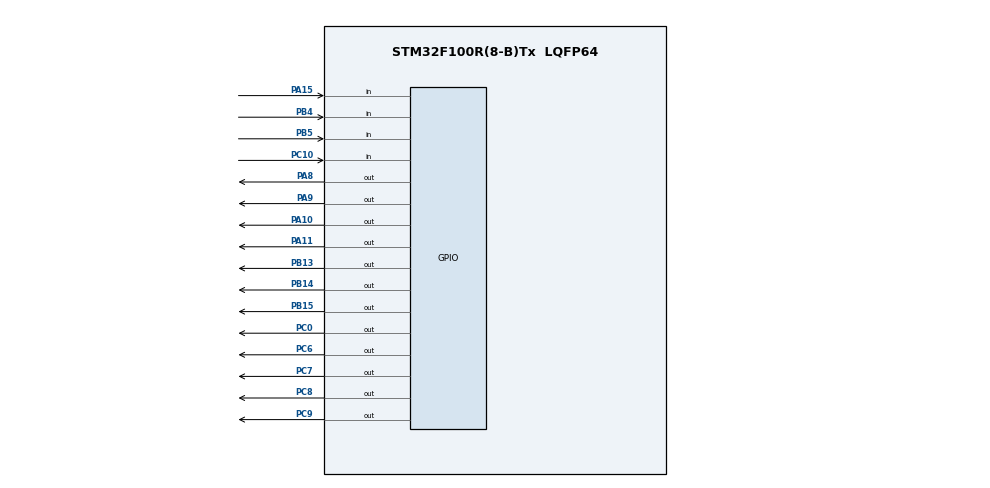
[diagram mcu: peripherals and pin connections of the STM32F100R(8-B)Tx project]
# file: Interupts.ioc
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Mcu.Family=STM32F1
Mcu.Name=STM32F100R(8-B)Tx
Mcu.Package=LQFP64
NVIC.PriorityGroup=NVIC_PRIORITYGROUP_4
NVIC.TIM2_IRQn=true\:0\:0\:false\:false\:true\:true
NVIC.TIM3_IRQn=true\:0\:0\:false\:false\:true\:true
PA10.Signal=GPIO_Output
PA11.Signal=GPIO_Output
PA15.Signal=GPIO_Input
PA8.Signal=GPIO_Output
PA9.Signal=GPIO_Output
PB13.Signal=GPIO_Output
PB14.Signal=GPIO_Output
PB15.Signal=GPIO_Output
PB4.Signal=GPIO_Input
PB5.Signal=GPIO_Input
PC0.Signal=GPIO_Output
PC10.Signal=GPIO_Input
PC6.Signal=GPIO_Output
PC7.Signal=GPIO_Output
PC8.Signal=GPIO_Output
PC9.Signal=GPIO_Output
ProjectManager.HeapSize=0x200
ProjectManager.StackSize=0x400
ProjectManager.TargetToolchain=Makefile
RCC.APB1Freq_Value=8000000
RCC.APB2Freq_Value=8000000
TIM2.Period=500
TIM2.Prescaler=8
TIM3.Period=1
TIM3.Prescaler=1
VP_SYS_VS_ND.Mode=No_Debug
VP_TIM2_VS_ClockSourceINT.Mode=Internal
VP_TIM3_VS_ClockSourceINT.Mode=Internal
board=Interupts

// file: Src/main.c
/**
  ******************************************************************************
  * File Name          : main.c
  * Description        : Main program body
  ******************************************************************************
  ** This notice applies to any and all portions of this file
  * that are not between comment pairs USER CODE BEGIN and
  * USER CODE END. Other portions of this file, whether
  * inserted by the user or by software development tools
  * are owned by their respective copyright owners.
  *
  * COPYRIGHT(c) 2018 STMicroelectronics
  *
  * Redistribution and use in source and binary forms, with or without modification,
  * are permitted provided that the following conditions are met:
  *   1. Redistributions of source code must retain the above copyright notice,
  *      this list of conditions and the following disclaimer.
  *   2. Redistributions in binary form must reproduce the above copyright notice,
  *      this list of conditions and the following disclaimer in the documentation
  *      and/or other materials provided with the distribution.
  *   3. Neither the name of STMicroelectronics nor the names of its contributors
  *      may be used to endorse or promote products derived from this software
  *      without specific prior written permission.
  *
  * THIS SOFTWARE IS PROVIDED BY THE COPYRIGHT HOLDERS AND CONTRIBUTORS "AS IS"
  * AND ANY EXPRESS OR IMPLIED WARRANTIES, INCLUDING, BUT NOT LIMITED TO, THE
  * IMPLIED WARRANTIES OF MERCHANTABILITY AND FITNESS FOR A PARTICULAR PURPOSE ARE
  * DISCLAIMED. IN NO EVENT SHALL THE COPYRIGHT HOLDER OR CONTRIBUTORS BE LIABLE
  * FOR ANY DIRECT, INDIRECT, INCIDENTAL, SPECIAL, EXEMPLARY, OR CONSEQUENTIAL
  * DAMAGES (INCLUDING, BUT NOT LIMITED TO, PROCUREMENT OF SUBSTITUTE GOODS OR
  * SERVICES; LOSS OF USE, DATA, OR PROFITS; OR BUSINESS INTERRUPTION) HOWEVER
  * CAUSED AND ON ANY THEORY OF LIABILITY, WHETHER IN CONTRACT, STRICT LIABILITY,
  * OR TORT (INCLUDING NEGLIGENCE OR OTHERWISE) ARISING IN ANY WAY OUT OF THE USE
  * OF THIS SOFTWARE, EVEN IF ADVISED OF THE POSSIBILITY OF SUCH DAMAGE.
  *
  ******************************************************************************
  */

#include "main.h"
#include "stm32f1xx_hal.h"

/* USER CODE BEGIN Includes */
#include <stdio.h>
#include <stdbool.h>
#include "LCD.h"
#include "MenuLibrary.h"
//#include "MenuLibrary.h"

/* USER CODE END Includes */

TIM_HandleTypeDef htim2;
TIM_HandleTypeDef htim3;

/* USER CODE BEGIN PV */
/* Private variables ---------------------------------------------------------*/

/* USER CODE END PV */

void SystemClock_Config(void);
static void MX_GPIO_Init(void);
static void MX_TIM2_Init(void);
static void MX_TIM3_Init(void);

/* USER CODE BEGIN PFP */
/* Private function prototypes -----------------------------------------------*/

/* USER CODE END PFP */

/* USER CODE BEGIN 0 */

volatile unsigned int Lines = 3;
volatile unsigned int MenuLayers = MENU_LAYERS;
volatile unsigned int CurrentLayer = 0;
volatile int CurrentMenuPosition[MENU_LAYERS];

volatile int portAPin15Counter=0;
volatile _Bool SetLCD = false;
volatile unsigned int PeriodsToGo = 1000;
volatile _Bool UpdateLCD = true;
volatile unsigned int PhaseLCD = 1;
volatile const int TotalPhasesLCDSetup = 13;
volatile const int TotalPhasesLCDUpdate = 8;
volatile char Text[4][16];

volatile unsigned int colomn = 1;
volatile unsigned int row = 1;

volatile const int CheckCircles = 250;
volatile const int jOnThreshold = 150;
volatile int jTimer = 0;
volatile int jOnUP=0; // PA15
volatile int jOnDOWN=0; // PC10
volatile int jOnOK=0; // PB4
volatile int jOnBACK=0; // PB5

//HAL_TIM_Base_Init(&htim2);
//HAL_TIM_Base_Start(&htim2);

/* USER CODE END 0 */

int main(void)
{

  /* USER CODE BEGIN 1 */
  /* CurrentMenuPosition initialization */
  volatile int i=0;
  for (i=0; i<MenuLayers; i++)
  {
    CurrentMenuPosition[i]=0;
  };
  CurrentMenuPosition[CurrentLayer]=1;
  /* Text initialization */
  volatile int bufPosition = CurrentMenuPosition[CurrentLayer];
  sprintf(Text[0],MenuTitle(CurrentMenuPosition));
  CurrentMenuPosition[CurrentLayer]=bufPosition;
  for (i=1; i<Lines+1; i++)
  {
    sprintf(Text[i],MenuOption(CurrentMenuPosition));
    CurrentMenuPosition[CurrentLayer]+=1;
  };
  CurrentMenuPosition[CurrentLayer]=bufPosition;
  Text[1][0] = '>';
  /*for (i=0; i<Lines+1; i++)
  {
    sprintf(Text[i],MenuOption(CurrentMenuPosition));
    CurrentMenuPosition[CurrentLayer]+=1;
  };
  CurrentMenuPosition[CurrentLayer]-=Lines;*/

  /* USER CODE END 1 */

  /* MCU Configuration----------------------------------------------------------*/

  /* Reset of all peripherals, Initializes the Flash interface and the Systick. */
  HAL_Init();

  /* Configure the system clock */
  SystemClock_Config();

  /* Initialize all configured peripherals */
  MX_GPIO_Init();
  MX_TIM2_Init();
  MX_TIM3_Init();

  /* USER CODE BEGIN 2 */
  /*Setup the Pins*/
  SetPins();
  /*Debuging LED*/
  HAL_GPIO_WritePin(GPIOC, GPIO_PIN_0, GPIO_PIN_RESET);
  /*Initialize the timer 2*/
  HAL_TIM_Base_Start_IT(&htim2);
  HAL_NVIC_EnableIRQ(TIM2_IRQn);
  /*Initialize the timer 3*/
  HAL_TIM_Base_Start_IT(&htim3);
  HAL_NVIC_EnableIRQ(TIM3_IRQn);

  /* USER CODE END 2 */

  /* Infinite loop */
  while (1)
  {

  /* USER CODE BEGIN 3 */
  //__HAL_TIM_ENABLE(&htim2);
  //__HAL_TIM_ENABLE(&htim3);
  /*Set the cursor position*/
  /*Write a string*/
  }
  /* USER CODE END 3 */

}

/** System Clock Configuration
*/
void SystemClock_Config(void)
{

  RCC_OscInitTypeDef RCC_OscInitStruct;
  RCC_ClkInitTypeDef RCC_ClkInitStruct;

    /**Initializes the CPU, AHB and APB busses clocks
    */
  RCC_OscInitStruct.OscillatorType = RCC_OSCILLATORTYPE_HSI;
  RCC_OscInitStruct.HSIState = RCC_HSI_ON;
  RCC_OscInitStruct.HSICalibrationValue = 16;
  RCC_OscInitStruct.PLL.PLLState = RCC_PLL_NONE;
  if (HAL_RCC_OscConfig(&RCC_OscInitStruct) != HAL_OK)
  {
    _Error_Handler(__FILE__, __LINE__);
  }

    /**Initializes the CPU, AHB and APB busses clocks
    */
  RCC_ClkInitStruct.ClockType = RCC_CLOCKTYPE_HCLK|RCC_CLOCKTYPE_SYSCLK
                              |RCC_CLOCKTYPE_PCLK1|RCC_CLOCKTYPE_PCLK2;
  RCC_ClkInitStruct.SYSCLKSource = RCC_SYSCLKSOURCE_HSI;
  RCC_ClkInitStruct.AHBCLKDivider = RCC_SYSCLK_DIV1;
  RCC_ClkInitStruct.APB1CLKDivider = RCC_HCLK_DIV1;
  RCC_ClkInitStruct.APB2CLKDivider = RCC_HCLK_DIV1;

  if (HAL_RCC_ClockConfig(&RCC_ClkInitStruct, FLASH_LATENCY_0) != HAL_OK)
  {
    _Error_Handler(__FILE__, __LINE__);
  }

    /**Configure the Systick interrupt time
    */
  HAL_SYSTICK_Config(HAL_RCC_GetHCLKFreq()/1000);

    /**Configure the Systick
    */
  HAL_SYSTICK_CLKSourceConfig(SYSTICK_CLKSOURCE_HCLK);

  /* SysTick_IRQn interrupt configuration */
  HAL_NVIC_SetPriority(SysTick_IRQn, 0, 0);
}

/* TIM2 init function */
static void MX_TIM2_Init(void)
{

  TIM_ClockConfigTypeDef sClockSourceConfig;
  TIM_MasterConfigTypeDef sMasterConfig;

  htim2.Instance = TIM2;
  htim2.Init.Prescaler = 8;
  htim2.Init.CounterMode = TIM_COUNTERMODE_UP;
  htim2.Init.Period = 500;
  htim2.Init.ClockDivision = TIM_CLOCKDIVISION_DIV1;
  htim2.Init.AutoReloadPreload = TIM_AUTORELOAD_PRELOAD_DISABLE;
  if (HAL_TIM_Base_Init(&htim2) != HAL_OK)
  {
    _Error_Handler(__FILE__, __LINE__);
  }

  sClockSourceConfig.ClockSource = TIM_CLOCKSOURCE_INTERNAL;
  if (HAL_TIM_ConfigClockSource(&htim2, &sClockSourceConfig) != HAL_OK)
  {
    _Error_Handler(__FILE__, __LINE__);
  }

  sMasterConfig.MasterOutputTrigger = TIM_TRGO_RESET;
  sMasterConfig.MasterSlaveMode = TIM_MASTERSLAVEMODE_DISABLE;
  if (HAL_TIMEx_MasterConfigSynchronization(&htim2, &sMasterConfig) != HAL_OK)
  {
    _Error_Handler(__FILE__, __LINE__);
  }

}

/* TIM3 init function */
static void MX_TIM3_Init(void)
{

  TIM_ClockConfigTypeDef sClockSourceConfig;
  TIM_MasterConfigTypeDef sMasterConfig;

  htim3.Instance = TIM3;
  htim3.Init.Prescaler = 1;
  htim3.Init.CounterMode = TIM_COUNTERMODE_UP;
  htim3.Init.Period = 1;
  htim3.Init.ClockDivision = TIM_CLOCKDIVISION_DIV1;
  htim3.Init.AutoReloadPreload = TIM_AUTORELOAD_PRELOAD_DISABLE;
  if (HAL_TIM_Base_Init(&htim3) != HAL_OK)
  {
    _Error_Handler(__FILE__, __LINE__);
  }

  sClockSourceConfig.ClockSource = TIM_CLOCKSOURCE_INTERNAL;
  if (HAL_TIM_ConfigClockSource(&htim3, &sClockSourceConfig) != HAL_OK)
  {
    _Error_Handler(__FILE__, __LINE__);
  }

  sMasterConfig.MasterOutputTrigger = TIM_TRGO_RESET;
  sMasterConfig.MasterSlaveMode = TIM_MASTERSLAVEMODE_DISABLE;
  if (HAL_TIMEx_MasterConfigSynchronization(&htim3, &sMasterConfig) != HAL_OK)
  {
    _Error_Handler(__FILE__, __LINE__);
  }

}

/** Configure pins as
        * Analog
        * Input
        * Output
        * EVENT_OUT
        * EXTI
*/
static void MX_GPIO_Init(void)
{

  GPIO_InitTypeDef GPIO_InitStruct;

  /* GPIO Ports Clock Enable */
  __HAL_RCC_GPIOC_CLK_ENABLE();
  __HAL_RCC_GPIOB_CLK_ENABLE();
  __HAL_RCC_GPIOA_CLK_ENABLE();

  /*Configure GPIO pin Output Level */
  HAL_GPIO_WritePin(GPIOC, GPIO_PIN_0|GPIO_PIN_6|GPIO_PIN_7|GPIO_PIN_8
                          |GPIO_PIN_9, GPIO_PIN_RESET);

  /*Configure GPIO pin Output Level */
  HAL_GPIO_WritePin(GPIOB, GPIO_PIN_13|GPIO_PIN_14|GPIO_PIN_15, GPIO_PIN_RESET);

  /*Configure GPIO pin Output Level */
  HAL_GPIO_WritePin(GPIOA, GPIO_PIN_8|GPIO_PIN_9|GPIO_PIN_10|GPIO_PIN_11, GPIO_PIN_RESET);

  /*Configure GPIO pins : PC0 PC6 PC7 PC8
                           PC9 */
  GPIO_InitStruct.Pin = GPIO_PIN_0|GPIO_PIN_6|GPIO_PIN_7|GPIO_PIN_8
                          |GPIO_PIN_9;
  GPIO_InitStruct.Mode = GPIO_MODE_OUTPUT_PP;
  GPIO_InitStruct.Speed = GPIO_SPEED_FREQ_LOW;
  HAL_GPIO_Init(GPIOC, &GPIO_InitStruct);

  /*Configure GPIO pins : PB13 PB14 PB15 */
  GPIO_InitStruct.Pin = GPIO_PIN_13|GPIO_PIN_14|GPIO_PIN_15;
  GPIO_InitStruct.Mode = GPIO_MODE_OUTPUT_PP;
  GPIO_InitStruct.Speed = GPIO_SPEED_FREQ_LOW;
  HAL_GPIO_Init(GPIOB, &GPIO_InitStruct);

  /*Configure GPIO pins : PA8 PA9 PA10 PA11 */
  GPIO_InitStruct.Pin = GPIO_PIN_8|GPIO_PIN_9|GPIO_PIN_10|GPIO_PIN_11;
  GPIO_InitStruct.Mode = GPIO_MODE_OUTPUT_PP;
  GPIO_InitStruct.Speed = GPIO_SPEED_FREQ_LOW;
  HAL_GPIO_Init(GPIOA, &GPIO_InitStruct);

  /*Configure GPIO pin : PA15 */
  GPIO_InitStruct.Pin = GPIO_PIN_15;
  GPIO_InitStruct.Mode = GPIO_MODE_INPUT;
  GPIO_InitStruct.Pull = GPIO_NOPULL;
  HAL_GPIO_Init(GPIOA, &GPIO_InitStruct);

  /*Configure GPIO pin : PC10 */
  GPIO_InitStruct.Pin = GPIO_PIN_10;
  GPIO_InitStruct.Mode = GPIO_MODE_INPUT;
  GPIO_InitStruct.Pull = GPIO_NOPULL;
  HAL_GPIO_Init(GPIOC, &GPIO_InitStruct);

  /*Configure GPIO pins : PB4 PB5 */
  GPIO_InitStruct.Pin = GPIO_PIN_4|GPIO_PIN_5;
  GPIO_InitStruct.Mode = GPIO_MODE_INPUT;
  GPIO_InitStruct.Pull = GPIO_NOPULL;
  HAL_GPIO_Init(GPIOB, &GPIO_InitStruct);

}

/* USER CODE BEGIN 4 */
/*void HAL_TIM_PeriodElapsedCallback(TIM_HandleTypeDef *htim)
{
  if (htim->Instance == htim2.Instance)
  {
    portAPin15Counter+=1;
  }
}*/
/* USER CODE END 4 */

void _Error_Handler(char * file, int line)
{
  while(1)
  {
  }
}

/************************ (C) COPYRIGHT STMicroelectronics *****END OF FILE****/
